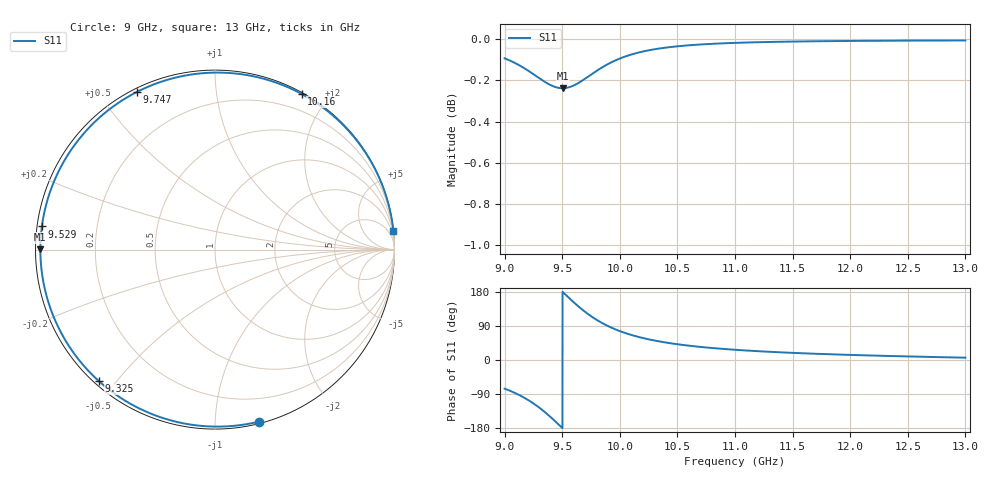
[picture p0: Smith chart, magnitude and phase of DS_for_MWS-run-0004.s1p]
! TOUCHSTONE file generated by CST DESIGN STUDIO
! Date and time: Tue Feb  4 17:21:23 2025
! Project name: C:\Work\MatlabApps\UnitCellOptimizationMatlab\CST\unitcell.cst
! Tree item: Tasks\Sweep1\SPara1\S-Parameters
! Header version: 2024
! Port assignment regex: !\s*Touchstone port\s*([0-9]+)\s*=\s*(CST MWS port|CST DES external port|CST DES block port)\s*(.+)\s* \(\"(.*)\"\)(\s*mode\s*([0-9]+))?.*
! Touchstone port assignment:
! Touchstone port 1 = CST DES external port 1 ("")
# GHz S MA R 50
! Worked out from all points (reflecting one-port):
!   4001 points, 9 GHz to 13 GHz, reference 50 ohm
!   lowest |S11| = -0.2 dB at 9.503 GHz (marker M1), VSWR 73.06, Z = 0.684 + j0.0276 ohm
!   phase of S11 starts at -76 deg and turns -278 deg over the sweep
!   S11 on the Smith chart (normalised r, x): 9 GHz: 0.01, -1.29; 9.325 GHz: 0.01, -0.45; 9.529 GHz: 0.01, +0.07; 9.747 GHz: 0.01, +0.62; 10.16 GHz: 0.01, +1.70; 13 GHz: 0, +19
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9  0.9894 -75.7
9.085  0.987 -86.3
9.187  0.9833 -102.4
9.259  0.9803 -116.5
9.325  0.9774 -131.4
9.372  0.9756 -143.3
9.421  0.9741 -156.6
9.461  0.9733 -167.9
9.5  0.973 -179.2
9.503  0.973 179.9
9.529  0.9731 172.4
9.583  0.974 157.0
9.643  0.9759 140.8
9.694  0.978 128.2
9.747  0.9803 116.3
9.799  0.9825 106.0
9.857  0.9848 95.8
9.928  0.9872 85.2
10  0.9893 76.2
10.161  0.9926 60.9
10.315  0.9946 50.6
10.5  0.9961 41.6
10.722  0.9972 33.8
11  0.998 27.0
11.5  0.9987 18.8
12  0.9991 13.4
12.5  0.9993 9.4
13  0.9993 6.1
